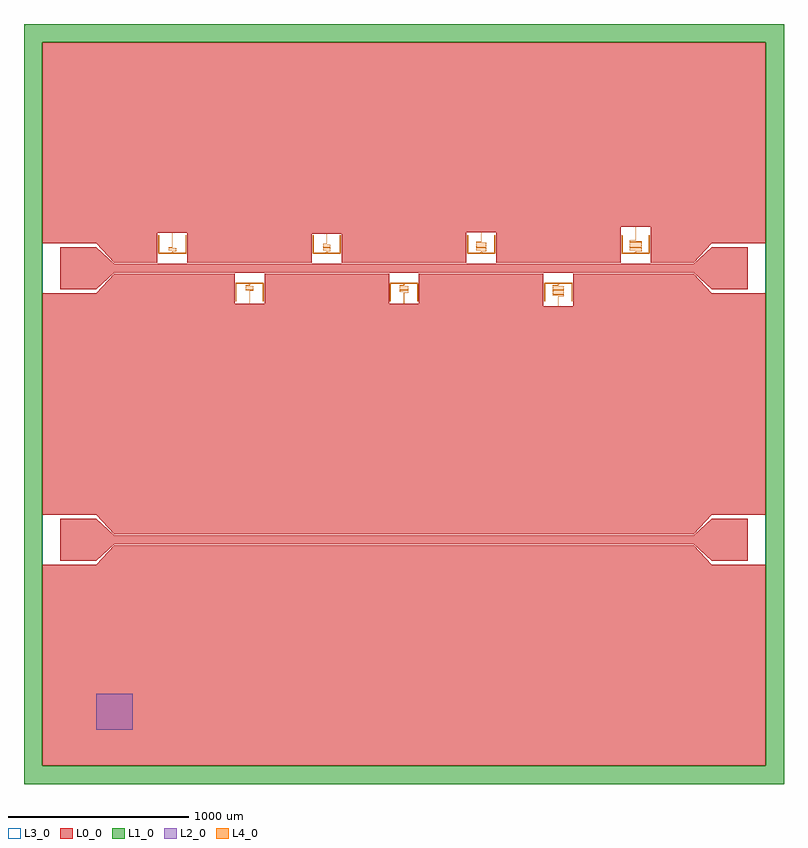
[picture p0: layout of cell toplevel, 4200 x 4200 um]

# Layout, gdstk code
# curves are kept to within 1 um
import gdstk
lib = gdstk.Library(unit=1e-6, precision=1e-09)
def R(c, l, rs):  # rectangles x0, y0, x1, y1
    for r in rs: c.add(gdstk.rectangle(r[:2], r[2:], *l))
def P(c, l, *ps):  # polygons
    for p in ps: c.add(gdstk.Polygon(p, *l))
L0_0 = (0, 0)
L1_0 = (1, 0)
L2_0 = (2, 0)
L3_0 = (3, 0)
L4_0 = (4, 0)

toplevel = lib.new_cell('toplevel')
P(toplevel, L0_0, [(-1197.5,945.05),(-1197.5,780.05),(-509.167,780.05),(-509.167,940.05),(-344.167,940.05),(-344.167,780.05),(344.167,780.05),(344.167,950.05),(509.167,950.05),(509.167,780.05),(1197.5,780.05),(1197.5,980.05),(1362.5,980.05),(1362.5,780.05),(1600,780.05),(1700,887.954),(2000,887.954),(2000,2000),(-2000,2000),(-2000,887.954),(-1700,887.954),(-1600,780.05),(-1362.5,780.05),(-1362.5,945.05)],
  [(2000,612.046),(1700,612.046),(1600,719.95),(935.833,719.95),(935.833,539.95),(770.833,539.95),(770.833,719.95),(82.5,719.95),(82.5,554.95),(-82.5,554.95),(-82.5,719.95),(-770.833,719.95),(-770.833,554.95),(-935.833,554.95),(-935.833,719.95),(-1600,719.95),(-1700,612.046),(-2000,612.046),(-2000,-612.046),(-1700,-612.046),(-1600,-719.95),(1600,-719.95),(1700,-612.046),(2000,-612.046)],
  [(1600,-780.05),(-1600,-780.05),(-1700,-887.954),(-2000,-887.954),(-2000,-2000),(2000,-2000),(2000,-887.954),(1700,-887.954)],
  [(-1600,775.05),(-1700,865),(-1900,865),(-1900,635),(-1700,635),(-1600,724.95),(1600,724.95),(1700,635),(1900,635),(1900,865),(1700,865),(1600,775.05)],
  [(-1600,-724.95),(-1700,-635),(-1900,-635),(-1900,-865),(-1700,-865),(-1600,-775.05),(1600,-775.05),(1700,-865),(1900,-865),(1900,-635),(1700,-635),(1600,-724.95)])
P(toplevel, L1_0, [(2100,2100),(-2100,2100),(-2100,-2000),(-2000,-2000),(-2000,2000),(2000,2000),(2000,-2000),(-2000,-2000),(-2100,-2000),(-2100,-2100),(2100,-2100)])
R(toplevel, L2_0, [(-1700,-1800,-1500,-1600)])
R(toplevel, L3_0, [(-2000,-2000,2000,2000)])
P(toplevel, L4_0, [(-1279.7,843.97),(-1279.077,844.747),(-1260.737,844.765),(-1259.92,845.198),(-1259.7,846.172),(-1259.752,849.524),(-1260.73,850.335),(-1298.985,850.35),(-1299.675,850.759),(-1299.688,854.256),(-1299.21,854.737),(-1260.957,854.751),(-1259.74,855.628),(-1259.738,859.466),(-1260.706,860.331),(-1298.985,860.35),(-1299.671,860.74),(-1299.692,864.213),(-1299.325,864.717),(-1280.882,864.754),(-1279.747,865.595),(-1279.7,945.05),(-1280.3,945.05),(-1280.331,865.733),(-1280.971,865.351),(-1299.481,865.296),(-1300.272,864.408),(-1300.256,860.608),(-1299.042,859.751),(-1260.79,859.737),(-1260.312,859.256),(-1260.327,855.751),(-1261.015,855.35),(-1299.294,855.331),(-1300.262,854.466),(-1300.263,850.641),(-1299.048,849.751),(-1260.803,849.739),(-1260.316,849.285),(-1260.311,845.853),(-1260.909,845.353),(-1279.612,845.255),(-1280.277,844.376),(-1280.3,840.05),(-1290,835.05),(-1352.259,835.313),(-1352.502,930.159),(-1352.952,931.484),(-1354.043,932.36),(-1355.326,932.529),(-1356.607,931.965),(-1357.5,930.05),(-1357.475,836.004),(-1356.915,833.45),(-1355.563,831.557),(-1353.447,830.396),(-1350.644,830.05),(-1209.356,830.05),(-1206.888,830.303),(-1204.934,831.168),(-1203.131,833.346),(-1202.504,836.563),(-1202.5,930.05),(-1203.085,931.657),(-1204.353,932.465),(-1205.752,932.434),(-1206.983,931.572),(-1207.498,930.159),(-1207.746,835.307),(-1270,835.05),(-1279.7,840.05)],
  [(-853.635,655.897),(-854.28,655.252),(-873.399,655.172),(-874.133,653.849),(-874.1,650.56),(-873.413,649.733),(-833.761,649.648),(-833.133,648.87),(-833.15,645.711),(-833.67,645.258),(-872.859,645.249),(-873.703,645.017),(-874.093,644.372),(-874.08,640.469),(-873.084,639.663),(-833.934,639.65),(-833.159,639.241),(-833.146,635.74),(-833.653,635.259),(-872.842,635.249),(-874.078,634.437),(-874.103,630.58),(-873.097,629.665),(-833.853,629.65),(-833.169,629.286),(-833.141,625.787),(-833.516,625.281),(-852.439,625.247),(-853.573,624.457),(-853.633,554.95),(-853.033,554.95),(-852.995,624.297),(-852.358,624.649),(-833.359,624.702),(-832.56,625.599),(-832.588,629.437),(-833.796,630.249),(-873.085,630.268),(-873.524,630.774),(-873.493,634.304),(-872.716,634.65),(-833.57,634.665),(-832.563,635.58),(-832.574,639.378),(-832.963,640.017),(-833.808,640.249),(-873.013,640.259),(-873.52,640.736),(-873.508,644.241),(-872.727,644.65),(-833.539,644.668),(-832.576,645.515),(-832.568,649.346),(-832.951,650.008),(-833.802,650.249),(-873.052,650.264),(-873.523,650.761),(-873.526,654.113),(-872.882,654.648),(-853.708,654.75),(-853.049,655.674),(-853.033,659.95),(-843.333,664.95),(-781.066,664.675),(-780.831,569.841),(-780.381,568.516),(-779.29,567.64),(-778.007,567.471),(-776.726,568.035),(-775.833,569.95),(-775.86,664.024),(-776.449,666.619),(-777.835,668.499),(-779.953,669.624),(-782.713,669.95),(-924.097,669.949),(-926.512,669.68),(-928.399,668.832),(-930.233,666.584),(-930.831,663.337),(-930.833,569.95),(-930.248,568.343),(-928.98,567.535),(-927.581,567.566),(-926.35,568.428),(-925.836,569.841),(-925.582,664.699),(-863.333,664.95),(-853.633,659.95)],
  [(-426.367,843.964),(-425.785,844.745),(-407.953,844.76),(-407.138,845.132),(-406.867,846.053),(-406.92,849.531),(-407.891,850.334),(-445.152,850.35),(-445.839,850.748),(-445.855,854.252),(-445.381,854.737),(-408.118,854.751),(-407.309,854.974),(-406.909,855.615),(-406.904,859.459),(-407.866,860.331),(-445.152,860.35),(-445.836,860.736),(-445.855,864.252),(-445.381,864.737),(-408.124,864.751),(-407.321,864.965),(-406.917,865.582),(-406.904,869.459),(-407.866,870.331),(-445.147,870.35),(-445.831,870.714),(-445.856,874.247),(-445.381,874.737),(-408.13,874.751),(-406.929,875.537),(-406.903,879.453),(-407.866,880.331),(-445.147,880.35),(-445.824,880.689),(-445.859,884.208),(-445.491,884.717),(-427.56,884.753),(-426.445,885.484),(-426.367,940.05),(-426.967,940.05),(-427.014,885.675),(-427.642,885.351),(-445.66,885.293),(-446.442,884.389),(-446.399,880.517),(-445.203,879.751),(-407.952,879.737),(-407.478,879.247),(-407.506,875.7),(-408.186,875.35),(-445.467,875.331),(-446.431,874.453),(-446.411,870.563),(-446.006,869.961),(-445.209,869.751),(-407.952,869.737),(-407.478,869.252),(-407.5,865.725),(-408.181,865.35),(-445.467,865.331),(-446.429,864.459),(-446.421,860.602),(-445.981,859.944),(-445.209,859.751),(-407.952,859.737),(-407.478,859.252),(-407.494,855.748),(-408.181,855.35),(-445.467,855.331),(-446.429,854.459),(-446.425,850.621),(-446.049,849.992),(-445.279,849.753),(-407.944,849.736),(-407.479,849.26),(-407.473,845.9),(-408.128,845.351),(-426.279,845.255),(-426.95,844.326),(-426.967,840.05),(-436.667,835.05),(-497.287,835.05),(-498.942,835.337),(-499.169,930.159),(-499.619,931.484),(-500.71,932.36),(-501.993,932.529),(-503.274,931.965),(-504.167,930.05),(-504.14,835.976),(-503.551,833.381),(-502.165,831.501),(-500.114,830.396),(-497.311,830.05),(-356.023,830.05),(-353.554,830.303),(-351.601,831.168),(-349.767,833.415),(-349.169,836.663),(-349.167,930.05),(-349.752,931.657),(-351.02,932.465),(-352.522,932.399),(-353.715,931.484),(-354.164,930.159),(-354.415,835.304),(-416.667,835.05),(-426.367,840.05)],
  [(-0.302,655.892),(-0.952,655.252),(-22.033,655.182),(-22.64,654.706),(-22.8,653.854),(-22.763,650.541),(-22.053,649.724),(21.563,649.648),(22.084,649.464),(22.2,648.87),(22.183,645.707),(21.654,645.257),(-21.52,645.249),(-22.364,645.021),(-22.762,644.366),(-22.764,640.547),(-21.807,639.67),(21.394,639.65),(22.162,639.293),(22.186,635.732),(21.672,635.258),(-21.589,635.247),(-22.352,635.03),(-22.743,634.444),(-22.769,630.573),(-22.465,629.963),(-21.745,629.663),(21.47,629.65),(22.16,629.3),(22.188,625.744),(21.693,625.261),(-21.526,625.249),(-22.314,625.056),(-22.732,624.483),(-22.763,620.541),(-21.77,619.665),(21.47,619.65),(22.153,619.325),(22.192,615.787),(21.802,615.278),(0.917,615.248),(-0.215,614.536),(-0.3,554.95),(0.3,554.95),(0.352,614.338),(0.99,614.649),(21.948,614.696),(22.773,615.599),(22.724,619.509),(21.52,620.249),(-21.693,620.261),(-22.188,620.748),(-22.157,624.311),(-21.47,624.65),(21.77,624.665),(22.763,625.541),(22.738,629.463),(22.32,630.052),(21.526,630.249),(-21.68,630.259),(-22.191,630.77),(-22.158,634.307),(-21.544,634.649),(21.751,634.663),(22.768,635.567),(22.736,639.47),(22.327,640.047),(21.52,640.249),(-21.672,640.258),(-22.186,640.727),(-22.175,644.241),(-21.394,644.65),(21.77,644.665),(22.764,645.547),(22.767,649.34),(22.339,650.039),(21.52,650.249),(-21.71,650.263),(-22.189,650.753),(-22.192,654.117),(-21.539,654.649),(-0.407,654.737),(0.282,655.662),(0.3,659.95),(10,664.95),(70.6,664.95),(72.272,664.668),(72.502,569.841),(72.952,568.516),(74.043,567.64),(75.326,567.471),(76.607,568.035),(77.5,569.95),(77.475,663.996),(76.9,666.584),(75.466,668.527),(73.346,669.634),(70.62,669.95),(-70.764,669.949),(-73.179,669.68),(-75.066,668.832),(-76.853,666.689),(-77.496,663.437),(-77.5,569.95),(-76.915,568.343),(-75.647,567.535),(-74.248,567.566),(-73.017,568.428),(-72.502,569.841),(-72.254,664.693),(-10,664.95),(-0.3,659.95)],
  [(426.967,843.975),(427.093,844.577),(427.637,844.749),(452.326,844.756),(453.196,845.132),(453.467,846.151),(453.408,849.55),(453.031,850.121),(452.368,850.341),(401.278,850.35),(400.504,850.707),(400.476,854.234),(401.03,854.744),(452.261,854.753),(452.987,854.948),(453.406,855.543),(453.423,859.491),(453.079,860.084),(452.381,860.34),(401.278,860.35),(400.507,860.696),(400.48,864.268),(400.995,864.741),(452.06,864.75),(452.936,864.918),(453.397,865.51),(453.439,869.408),(453.137,870.032),(452.424,870.336),(401.273,870.35),(400.508,870.693),(400.477,874.243),(400.978,874.74),(452.238,874.752),(452.987,874.948),(453.386,875.477),(453.438,879.414),(453.109,880.058),(452.405,880.338),(401.211,880.35),(400.523,880.648),(400.478,884.252),(400.995,884.741),(452.17,884.75),(452.936,884.918),(453.369,885.431),(453.431,889.453),(453.091,890.074),(452.405,890.338),(401.211,890.35),(400.529,890.632),(400.475,894.217),(400.895,894.728),(425.721,894.751),(426.845,895.372),(426.967,950.05),(426.367,950.05),(426.299,895.62),(425.657,895.35),(400.764,895.314),(399.893,894.401),(399.974,890.405),(400.41,889.91),(401.164,889.75),(452.338,889.741),(452.855,889.252),(452.809,885.645),(452.127,885.35),(400.928,885.338),(400.242,885.074),(399.903,884.453),(399.961,880.438),(400.391,879.921),(401.164,879.75),(452.316,879.743),(452.855,879.256),(452.813,875.655),(452.055,875.35),(400.897,875.335),(400.266,875.094),(399.908,874.478),(399.941,870.497),(400.443,869.893),(401.273,869.75),(452.347,869.741),(452.855,869.256),(452.826,865.696),(452.06,865.35),(400.928,865.338),(400.242,865.074),(399.901,864.446),(399.933,860.523),(400.391,859.921),(401.273,859.75),(452.325,859.743),(452.85,859.289),(452.827,855.7),(452.055,855.35),(400.922,855.337),(400.248,855.079),(399.909,854.485),(399.922,850.563),(400.303,849.978),(401.072,849.753),(452.36,849.739),(452.854,849.264),(452.858,845.883),(452.191,845.351),(427.127,845.28),(426.387,844.357),(426.367,840.05),(416.667,835.05),(356.047,835.05),(354.398,835.327),(354.167,836.89),(354.164,930.159),(353.715,931.484),(352.723,932.316),(351.34,932.529),(350.06,931.965),(349.401,931.106),(349.167,930.05),(349.19,836.031),(349.737,833.485),(351.104,831.557),(353.219,830.396),(356.023,830.05),(497.311,830.05),(499.779,830.303),(501.732,831.168),(503.551,833.381),(504.164,836.638),(504.167,930.05),(503.582,931.657),(502.314,932.465),(500.915,932.434),(499.683,931.572),(499.169,930.159),(499.167,837.033),(498.919,835.305),(497.287,835.05),(436.667,835.05),(426.967,840.05)],
  [(853.032,655.892),(852.889,655.402),(852.372,655.251),(823.918,655.211),(823.266,654.82),(823.035,654.021),(823.067,650.56),(823.846,649.705),(882.294,649.65),(882.892,649.494),(883.033,648.91),(883.02,645.732),(882.487,645.257),(824.325,645.249),(823.513,645.052),(823.092,644.45),(823.074,640.521),(823.421,639.916),(824.119,639.66),(882.294,639.65),(882.993,639.304),(883.02,635.736),(882.487,635.257),(824.33,635.249),(823.526,635.059),(823.101,634.483),(823.073,630.528),(823.421,629.916),(824.119,629.66),(882.289,629.65),(882.987,629.321),(883.02,625.736),(882.487,625.257),(824.336,625.249),(823.545,625.071),(823.114,624.523),(823.072,620.534),(823.421,619.916),(824.119,619.66),(882.289,619.65),(882.98,619.342),(883.021,615.74),(882.487,615.257),(824.336,615.25),(823.564,615.082),(823.128,614.562),(823.07,610.541),(823.415,609.921),(824.119,609.66),(882.283,609.65),(882.972,609.364),(883.021,605.744),(882.487,605.257),(824.342,605.25),(823.59,605.096),(823.149,604.615),(823.069,600.547),(823.415,599.921),(824.113,599.66),(882.283,599.65),(882.961,599.389),(883.025,595.778),(882.585,595.268),(854.296,595.249),(853.177,594.674),(853.033,539.95),(853.633,539.95),(853.713,594.404),(854.353,594.65),(882.704,594.68),(883.315,594.98),(883.607,595.599),(883.506,599.641),(883.064,600.103),(882.325,600.25),(824.179,600.257),(823.645,600.744),(823.7,604.377),(824.383,604.65),(882.553,604.66),(883.252,604.921),(883.597,605.547),(883.528,609.589),(883.09,610.09),(882.325,610.25),(824.179,610.257),(823.646,610.74),(823.69,614.351),(824.378,614.65),(882.547,614.66),(883.246,614.916),(883.595,615.534),(883.546,619.542),(883.115,620.075),(882.331,620.249),(824.179,620.257),(823.646,620.74),(823.683,624.332),(824.378,624.65),(882.547,624.66),(883.246,624.916),(883.593,625.528),(883.559,629.503),(883.135,630.063),(882.336,630.249),(824.179,630.257),(823.646,630.736),(823.676,634.311),(824.373,634.65),(882.547,634.66),(883.246,634.916),(883.593,635.528),(883.569,639.47),(883.147,640.056),(882.336,640.249),(824.179,640.257),(823.646,640.736),(823.671,644.293),(824.373,644.65),(882.547,644.66),(883.246,644.916),(883.592,645.521),(883.591,649.385),(883.16,650.047),(882.342,650.249),(824.188,650.256),(823.776,650.404),(823.638,650.832),(823.645,654.156),(823.952,654.601),(852.834,654.709),(853.606,655.592),(853.633,659.95),(863.333,664.95),(923.933,664.95),(925.58,664.701),(925.833,663.11),(925.836,569.841),(926.285,568.516),(927.277,567.684),(928.66,567.471),(929.94,568.035),(930.599,568.894),(930.833,569.95),(930.808,663.996),(930.248,666.55),(928.864,668.471),(926.781,669.604),(923.954,669.95),(782.57,669.949),(780.155,669.68),(778.268,668.832),(777.229,667.883),(776.449,666.619),(775.836,663.361),(775.833,569.95),(776.418,568.343),(777.686,567.535),(779.085,567.566),(780.317,568.428),(780.831,569.841),(780.833,663.009),(781.081,664.695),(782.734,664.95),(843.333,664.95),(853.033,659.95)],
  [(1280.3,843.98),(1280.435,844.588),(1280.985,844.749),(1311.922,844.79),(1312.585,845.205),(1312.799,846.019),(1312.776,849.382),(1312.086,850.265),(1248.386,850.354),(1247.948,850.498),(1247.805,850.923),(1247.804,854.168),(1248.035,854.665),(1311.757,854.764),(1312.47,855.068),(1312.788,855.811),(1312.788,859.288),(1312.339,860.139),(1311.388,860.35),(1248.373,860.355),(1247.809,860.874),(1247.964,864.616),(1311.751,864.763),(1312.465,865.063),(1312.778,865.73),(1312.796,869.174),(1312.47,870.032),(1311.388,870.35),(1248.377,870.355),(1247.81,870.861),(1247.935,874.588),(1311.745,874.763),(1312.448,875.047),(1312.775,875.711),(1312.796,879.174),(1312.529,879.968),(1311.388,880.35),(1248.382,880.354),(1247.812,880.848),(1247.909,884.554),(1248.612,884.75),(1311.745,884.763),(1312.436,885.036),(1312.77,885.679),(1312.605,889.864),(1311.388,890.35),(1248.391,890.354),(1247.813,890.836),(1247.885,894.515),(1248.612,894.75),(1311.618,894.754),(1312.314,894.944),(1312.73,895.51),(1312.8,899.042),(1312.476,900.026),(1311.565,900.348),(1248.55,900.35),(1247.858,900.645),(1247.809,904.23),(1248.261,904.734),(1279.037,904.751),(1279.769,904.918),(1280.192,905.405),(1280.3,980.05),(1279.7,980.05),(1279.637,905.632),(1278.98,905.35),(1248.149,905.323),(1247.53,905.032),(1247.23,904.42),(1247.297,900.431),(1247.731,899.918),(1248.508,899.75),(1311.645,899.744),(1312.187,899.264),(1312.146,895.655),(1311.45,895.35),(1248.298,895.341),(1247.593,895.089),(1247.24,894.472),(1247.283,890.471),(1247.718,889.925),(1248.508,889.75),(1311.645,889.744),(1312.187,889.264),(1312.153,885.675),(1311.455,885.35),(1248.298,885.341),(1247.593,885.089),(1247.24,884.472),(1247.272,880.504),(1247.699,879.937),(1248.503,879.75),(1311.645,879.744),(1312.186,879.268),(1312.158,875.693),(1311.455,875.35),(1248.298,875.341),(1247.593,875.089),(1247.241,874.478),(1247.262,870.537),(1247.686,869.944),(1248.503,869.75),(1311.645,869.744),(1312.186,869.268),(1312.162,865.707),(1311.455,865.35),(1248.298,865.341),(1247.593,865.089),(1247.243,864.485),(1247.255,860.563),(1247.673,859.953),(1248.497,859.75),(1311.645,859.744),(1312.186,859.268),(1312.165,855.718),(1311.455,855.35),(1248.274,855.339),(1247.564,855.064),(1247.241,854.478),(1247.245,850.602),(1247.63,849.983),(1248.452,849.751),(1311.658,849.743),(1312.183,849.293),(1312.125,845.605),(1311.515,845.351),(1280.526,845.298),(1279.961,844.956),(1279.723,844.376),(1279.7,840.05),(1270,835.05),(1209.38,835.05),(1207.757,835.296),(1207.5,836.93),(1207.498,930.159),(1207.266,931.106),(1206.607,931.965),(1205.752,932.434),(1204.782,932.54),(1203.232,931.818),(1202.502,930.159),(1202.5,836.906),(1202.846,834.102),(1204.007,831.987),(1205.935,830.62),(1208.673,830.064),(1350.644,830.05),(1352.98,830.271),(1354.93,831.077),(1356.077,832.084),(1356.853,833.311),(1357.495,836.512),(1357.5,930.05),(1357.31,931.007),(1356.689,931.893),(1355.752,932.434),(1354.782,932.54),(1353.232,931.818),(1352.502,930.159),(1352.5,836.95),(1352.259,835.313),(1350.62,835.05),(1290,835.05),(1280.3,840.05)])

lib.write_gds('toplevel.gds')
